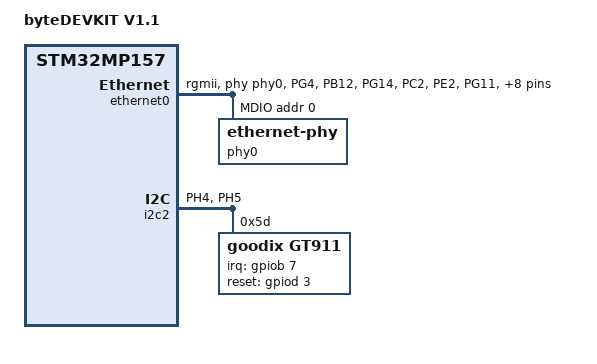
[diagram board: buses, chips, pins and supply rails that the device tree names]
// SPDX-License-Identifier: GPL-2.0
/*
 *  Copyright (C) 2020 bytes at work AG - http://www.bytesatwork.ch
 */

/dts-v1/;

#include "stm32mp157c-bytedevkit-common.dtsi"

/ {
	model = "byteDEVKIT V1.1";
	compatible = "batw,bytedevkit-v1-1", "batw,bytedevkit", "batw,m5", "st,stm32mp157";
};

&pinctrl {
	i2c2_pins: i2c2-0 {
		pins {
			pinmux = <STM32_PINMUX('H', 4, AF4)>, /* I2C3_SCL */
				 <STM32_PINMUX('H', 5, AF4)>; /* I2C3_SDA */
			bias-pull-up;
			drive-open-drain;
			slew-rate = <0>;
		};
	};

	i2c2_pins_sleep: i2c2-1 {
		pins {
			pinmux = <STM32_PINMUX('H', 4, ANALOG)>, /* I2C3_SCL */
				 <STM32_PINMUX('H', 5, ANALOG)>; /* I2C3_SDA */
		};
	};

	ethernet0_rgmii_pins: rgmii-0 {
		pins1 {
			pinmux = <STM32_PINMUX('G', 4, AF11)>, /* ETH_RGMII_GTX_CLK */
				 <STM32_PINMUX('B', 12, AF11)>, /* ETH_RGMII_TXD0 */
				 <STM32_PINMUX('G', 14, AF11)>, /* ETH_RGMII_TXD1 */
				 <STM32_PINMUX('C', 2, AF11)>, /* ETH_RGMII_TXD2 */
				 <STM32_PINMUX('E', 2, AF11)>, /* ETH_RGMII_TXD3 */
				 <STM32_PINMUX('G', 11, AF11)>, /* ETH_RGMII_TX_CTL */
				 <STM32_PINMUX('C', 1, AF11)>; /* ETH_MDC */
			bias-disable;
			drive-push-pull;
			slew-rate = <2>;
		};

		pins2 {
			pinmux = <STM32_PINMUX('A', 2, AF11)>; /* ETH_MDIO */
			bias-disable;
			drive-push-pull;
			slew-rate = <0>;
		};

		pins3 {
			pinmux = <STM32_PINMUX('C', 4, AF11)>, /* ETH_RGMII_RXD0 */
				 <STM32_PINMUX('C', 5, AF11)>, /* ETH_RGMII_RXD1 */
				 <STM32_PINMUX('H', 6, AF11)>, /* ETH_RGMII_RXD2 */
				 <STM32_PINMUX('H', 7, AF11)>, /* ETH_RGMII_RXD3 */
				 <STM32_PINMUX('A', 1, AF11)>, /* ETH_RGMII_RX_CLK */
				 <STM32_PINMUX('A', 7, AF11)>; /* ETH_RGMII_RX_CTL */
			bias-disable;
		};
	};
};

&ethernet0 {
	status = "okay";
	pinctrl-0 = <&ethernet0_rgmii_pins>;
	pinctrl-names = "default";
	phy-mode = "rgmii";
	phy-handle = <&phy0>;
	st,eth_clk_sel = <1>;
	max-speed = <1000>;
	clock-names = "stmmaceth", "mac-clk-tx", "mac-clk-rx", "eth-ck", "syscfg-clk", "ethstp";
	clocks = <&rcc ETHMAC>, <&rcc ETHTX>, <&rcc ETHRX>, <&rcc ETHCK_K>, <&rcc SYSCFG>, <&rcc ETHSTP>;

	mdio0 {
		#address-cells = <1>;
		#size-cells = <0>;
		compatible = "snps,dwmac-mdio";
		phy0: ethernet-phy@0 {
			reg = <0>;
			ti,rx-internal-delay = <DP83867_RGMIIDCTL_2_25_NS>;
			ti,tx-internal-delay = <DP83867_RGMIIDCTL_2_75_NS>;
			ti,fifo-depth = <DP83867_PHYCR_FIFO_DEPTH_4_B_NIB>;
			ti,dp83867-rxctrl-strap-quirk;
		};
	};
};

&i2c2 {
	pinctrl-names = "default", "sleep";
	pinctrl-0 = <&i2c2_pins>;
	pinctrl-1 = <&i2c2_pins_sleep>;
	i2c-scl-rising-time-ns = <185>;
	i2c-scl-falling-time-ns = <20>;
	status = "okay";
	/delete-property/dmas;
	/delete-property/dma-names;

	gt911@5d {
		compatible = "goodix,gt911";
		reg = <0x5d>;
		interrupt-parent = <&gpiob>;
		interrupts = <7 0>;

		irq-gpios = <&gpiob 7 0>;
		reset-gpios = <&gpiod 3 0>;
	};
};
